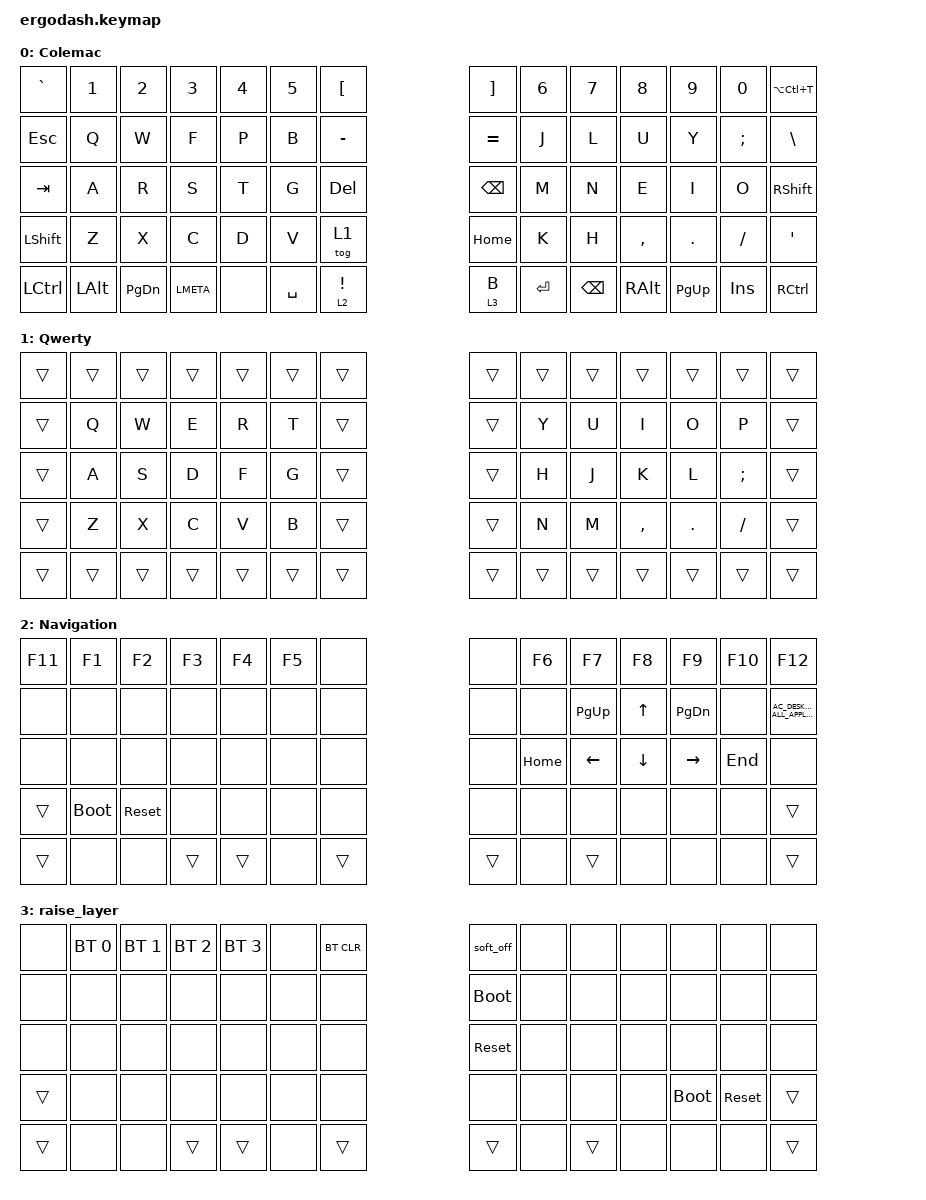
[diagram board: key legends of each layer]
/*
 * Copyright (c) 2020 The ZMK Contributors
 *
 * SPDX-License-Identifier: MIT
 */

#include <behaviors.dtsi>
#include <dt-bindings/zmk/bt.h>
#include <dt-bindings/zmk/keys.h>

#define DEFAULT 0
#define LOWER   1
#define RAISE   2

&soft_off {
    hold-time-ms = <3000>; // Only turn off it the key is held for 5 seconds or longer.
};

/ {
    keymap {
        compatible = "zmk,keymap";

        Colemac {
            /* QWERTY
 * .----------------------------------------------------------------------------------------------------------------------.
 * |  `   |   1  |   2  |   3  |   4  |   5  |  [   |                    |  ]   |   6  |   7  |   8  |   9  |   0  | PScr |
 * |------+------+------+------+------+------+------+--------------------+------+------+------+------+------+------+------|
 * | ESC  |   Q  |   W  |   E  |   R  |   T  |  -   |                    |  =   |   Y  |   U  |   I  |   O  |   P  |  \   |
 * |------+------+------+------+------+------+------+--------------------+------+------+------+------+------+------+------|
 * | Tab  |   A  |   S  |   D  |   F  |   G  | Del  |                    | Bksp |   H  |   J  |   K  |   L  |   ;  |  '   |
 * |------+------+------+------+------+------+---------------------------+------+------+------+------+------+------+------|
 * | Shift|   Z  |   X  |   C  |   V  |   B  | End  |                    | Home |   N  |   M  |   ,  |   .  |   /  | Shift|
 * |-------------+------+------+------+------+------+------+------+------+------+------+------+------+------+-------------|
 * | Ctrl |      | PGDN | Win  |||||||| Alt  | Space| Lower|||||||| Raise| Enter| RAlt ||||||||      | PGUP | Ins  | RCtrl|
 * .----------------------------------------------------------------------------------------------------------------------.
 */

            bindings = <
&kp GRAVE  &kp N1    &kp N2     &kp N3     &kp N4  &kp N5  &kp LBKT                                &kp RBKT   &kp N6  &kp N7         &kp N8         &kp N9     &kp N0         &kp LA(LC(T))
&kp ESC    &kp Q     &kp W      &kp F      &kp P   &kp B   &kp MINUS                               &kp EQUAL  &kp J   &kp L          &kp U          &kp Y      &kp SEMICOLON  &kp BSLH
&kp TAB    &kp A     &kp R      &kp S      &kp T   &kp G   &kp DEL                                 &kp BSPC   &kp M   &kp N          &kp E          &kp I      &kp O          &kp RIGHT_SHIFT
&kp LSHFT  &kp Z     &kp X      &kp C      &kp D   &kp V              &tog 1             &kp HOME             &kp K   &kp H          &kp COMMA      &kp DOT    &kp SLASH      &kp SQT
&kp LCTRL  &kp LALT  &kp PG_DN  &kp LMETA  &none           &kp SPACE  &lt 2 EXCLAMATION  &lt 3 B   &kp RET            &kp BACKSPACE  &kp RIGHT_ALT  &kp PG_UP  &kp INS        &kp RCTRL
            >;
        };

        Qwerty {
            bindings = <
&trans  &trans  &trans  &trans  &trans  &trans  &trans                  &trans  &trans  &trans  &trans     &trans   &trans    &trans
&trans  &kp Q   &kp W   &kp E   &kp R   &kp T   &trans                  &trans  &kp Y   &kp U   &kp I      &kp O    &kp P     &trans
&trans  &kp A   &kp S   &kp D   &kp F   &kp G   &trans                  &trans  &kp H   &kp J   &kp K      &kp L    &kp SEMI  &trans
&trans  &kp Z   &kp X   &kp C   &kp V   &kp B           &trans  &trans          &kp N   &kp M   &kp COMMA  &kp DOT  &kp FSLH  &trans
&trans  &trans  &trans  &trans  &trans          &trans  &trans  &trans  &trans          &trans  &trans     &trans   &trans    &trans
            >;
        };

        Navigation {
            /* .----------------------------------------------------------------------------------------------------------------------.
 * |  F11 |  F1  |  F2  |  F3  |  F4  |  F5  |      |                    |      |  F6  |  F7  |  F8  |  F9  |  F10 |  F12 |
 * |------+------+------+------+------+------+------+--------------------+------+------+------+------+------+------+------|
 * |      |      |      |      |      |      |      |                    |      |      |      |      |      |      |      |
 * |------+------+------+------+------+------+------+--------------------+------+------+------+------+------+------+------|
 * |      |      |      |      |      |      |      |                    |      |      |      |      |      |      |      |
 * |------+------+------+------+------+------+---------------------------+------+------+------+------+------+------+------|
 * | Shift| Boot | Reset|      |      |      |      |                    |      |      |      |      |      |      | Shift|
 * |-------------+------+------+------+------+------+------+------+------+------+------+------+------+------+-------------|
 * | Ctlr |      |      |  Win |||||||| Alt  |      | Lower|||||||| Raise|      | RAlt ||||||||      |      |      | RCtrl|
 * .----------------------------------------------------------------------------------------------------------------------.
 */ /* FIXME boot and reset are not yet locale aware */
            bindings = <
&kp F11  &kp F1       &kp F2      &kp F3  &kp F4  &kp F5  &none                  &none  &kp F6    &kp F7       &kp F8          &kp F9         &kp F10  &kp F12
&none    &none        &none       &none   &none   &none   &none                  &none  &none     &kp PAGE_UP  &kp UP_ARROW    &kp PAGE_DOWN  &none    &kp C_AC_DESKTOP_SHOW_ALL_APPLICATIONS
&none    &none        &none       &none   &none   &none   &none                  &none  &kp HOME  &kp LEFT     &kp DOWN_ARROW  &kp RIGHT      &kp END  &none
&trans   &bootloader  &sys_reset  &none   &none   &none          &none   &none          &none     &none        &none           &none          &none    &trans
&trans   &none        &none       &trans  &trans          &none  &trans  &trans  &none            &trans       &none           &none          &none    &trans
            >;
        };

        raise_layer {
            /* .----------------------------------------------------------------------------------------------------------------------.
 * |      | BT 0 | BT 1 | BT 2 | BT 3 |      | BTCL |                    | s-off|      |      |      |      |      |      |
 * |------+------+------+------+------+------+------+--------------------+------+------+------+------+------+------+------|
 * |      |      |      |      |      |      |      |                    |      |      |      |      |      |      |      |
 * |------+------+------+------+------+------+------+--------------------+------+------+------+------+------+------+------|
 * |      |      |      |      |      |      |      |                    |      |      |      |      |      |      |      |
 * |------+------+------+------+------+------+---------------------------+------+------+------+------+------+------+------|
 * | Shift|      |      |      |      |      |      |                    |      |      |      |      | Boot | Reset| Shift|
 * |-------------+------+------+------+------+------+------+------+------+------+------+------+------+------+-------------|
 * | Ctlr |      |      |  Win |||||||| Alt  |      | Lower|||||||| Raise|      | RAlt ||||||||      |      |      | RCtrl|
 * .----------------------------------------------------------------------------------------------------------------------.
 */ /* FIXME boot and reset are not yet locale aware */
            bindings = <
&none   &bt BT_SEL 0  &bt BT_SEL 1  &bt BT_SEL 2  &bt BT_SEL 3  &none  &bt BT_CLR                  &soft_off    &none  &none   &none  &none        &none       &none
&none   &none         &none         &none         &none         &none  &none                       &bootloader  &none  &none   &none  &none        &none       &none
&none   &none         &none         &none         &none         &none  &none                       &sys_reset   &none  &none   &none  &none        &none       &none
&trans  &none         &none         &none         &none         &none              &none   &none                &none  &none   &none  &bootloader  &sys_reset  &trans
&trans  &none         &none         &trans        &trans               &none       &trans  &trans  &none               &trans  &none  &none        &none       &trans
            >;
        };
    };
};
